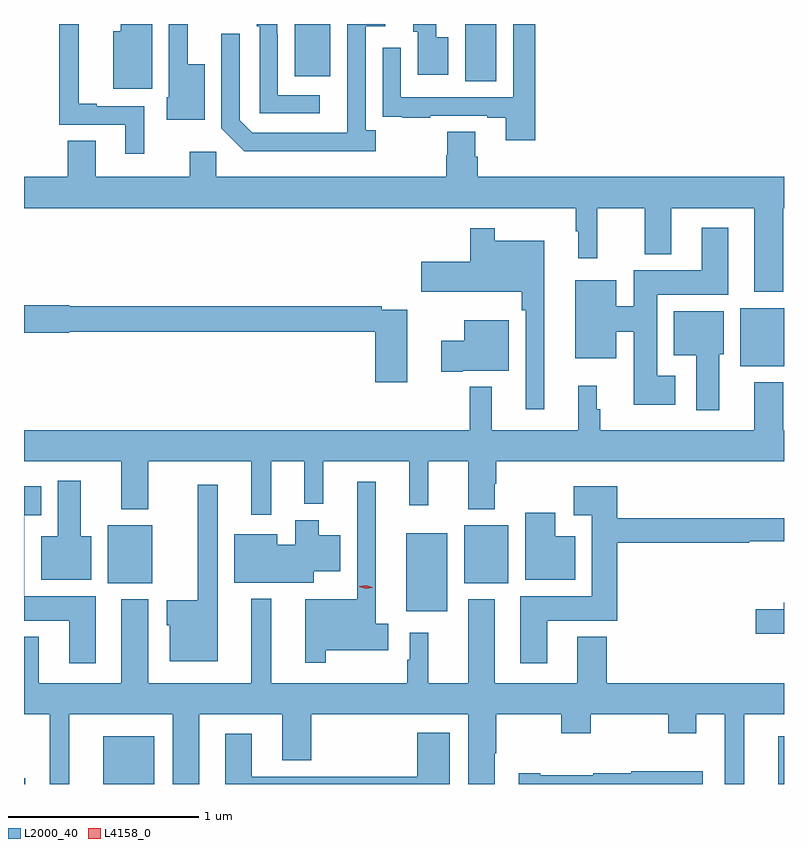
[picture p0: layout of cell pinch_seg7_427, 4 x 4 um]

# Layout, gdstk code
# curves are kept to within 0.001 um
import gdstk
lib = gdstk.Library(unit=1e-6, precision=1e-09)
def R(c, l, rs):  # rectangles x0, y0, x1, y1
    for r in rs: c.add(gdstk.rectangle(r[:2], r[2:], *l))
def P(c, l, *ps):  # polygons
    for p in ps: c.add(gdstk.Polygon(p, *l))
L2000_40 = (2000, 40)
L4158_0 = (4158, 0)

pinch_seg7_427 = lib.new_cell('pinch_seg7_427')
R(pinch_seg7_427, L2000_40, [(358.622,1046.869,358.629,1046.899), (359.039,1046.869,359.308,1047.121), (362.591,1046.869,362.622,1047.121), (360.635,1047.779,360.85,1048.189), (359.063,1047.926,359.296,1048.231), (360.938,1047.926,361.171,1048.231), (362.393,1049.069,362.622,1049.374), (360.944,1050.568,361.108,1050.869), (360.047,1050.593,360.235,1050.868)])
P(pinch_seg7_427, L2000_40, [(359.296,1050.869),(359.13,1050.869),(359.13,1050.832),(359.093,1050.832),(359.093,1050.527),(359.296,1050.527)],
  [(359.572,1050.658),(359.483,1050.658),(359.483,1050.869),(359.385,1050.869),(359.385,1050.483),(359.373,1050.483),(359.373,1050.365),(359.572,1050.365)],
  [(359.256,1050.435),(359.005,1050.435),(359.005,1050.448),(358.91,1050.448),(358.91,1050.869),(358.807,1050.869),(358.807,1050.339),(359.156,1050.339),(359.156,1050.186),(359.256,1050.186)],
  [(360.856,1050.799),(360.793,1050.799),(360.793,1050.869),(360.671,1050.869),(360.671,1050.828),(360.695,1050.828),(360.695,1050.603),(360.856,1050.603)],
  [(360.178,1050.495),(359.958,1050.495),(359.958,1050.815),(359.955,1050.815),(359.955,1050.869),(359.847,1050.869),(359.847,1050.857),(359.862,1050.857),(359.862,1050.399),(360.178,1050.399)],
  [(360.472,1050.31),(360.42,1050.31),(360.42,1050.858),(360.523,1050.858),(360.523,1050.869),(360.324,1050.869),(360.323,1050.297),(359.823,1050.297),(359.757,1050.363),(359.757,1050.817),(359.661,1050.817),(359.661,1050.321),(359.782,1050.2),(360.472,1050.2)],
  [(361.313,1050.869),(361.197,1050.869),(361.197,1050.483),(360.606,1050.483),(360.606,1050.745),(360.51,1050.745),(360.51,1050.49),(360.511,1050.49),(360.511,1050.381),(360.613,1050.381),(360.613,1050.375),(360.761,1050.375),(360.761,1050.387),(361.061,1050.387),(361.061,1050.375),(361.157,1050.375),(361.157,1050.258),(361.313,1050.258)],
  [(362.618,1049.9),(362.622,1049.9),(362.622,1050.064),(361.01,1050.064),(361.01,1050.17),(360.997,1050.17),(360.997,1050.302),(360.85,1050.302),(360.85,1050.177),(360.845,1050.177),(360.845,1050.064),(359.634,1050.064),(359.634,1050.196),(359.495,1050.196),(359.495,1050.064),(358.999,1050.064),(358.999,1050.254),(358.852,1050.254),(358.852,1050.064),(358.622,1050.064),(358.622,1049.9),(361.527,1049.9),(361.527,1049.777),(361.538,1049.777),(361.538,1049.637),(361.638,1049.637),(361.638,1049.9),(361.889,1049.9),(361.889,1049.657),(362.029,1049.657),(362.029,1049.9),(362.465,1049.9),(362.465,1049.459),(362.618,1049.459)],
  [(362.05,1049.017),(361.954,1049.017),(361.954,1049.444),(362.329,1049.444),(362.329,1049.797),(362.189,1049.797),(362.189,1049.572),(361.832,1049.572),(361.832,1049.384),(361.738,1049.384),(361.738,1049.521),(361.523,1049.521),(361.523,1049.111),(361.738,1049.111),(361.738,1049.248),(361.832,1049.248),(361.832,1048.865),(362.05,1048.865)],
  [(361.36,1049.728),(361.099,1049.728),(361.099,1049.794),(360.97,1049.794),(360.97,1049.617),(360.714,1049.617),(360.714,1049.459),(361.243,1049.459),(361.243,1049.363),(361.263,1049.363),(361.263,1048.842),(361.36,1048.842)],
  [(360.64,1049.364),(360.506,1049.364),(360.506,1049.384),(358.86,1049.384),(358.86,1049.39),(358.622,1049.39),(358.622,1049.243),(358.86,1049.243),(358.86,1049.248),(360.47,1049.248),(360.47,1048.983),(360.64,1048.983)],
  [(362.281,1049.13),(362.305,1049.13),(362.305,1049.356),(362.042,1049.356),(362.042,1049.126),(362.159,1049.126),(362.159,1048.836),(362.281,1048.836)],
  [(360.931,1049.045),(361.174,1049.045),(361.174,1049.311),(360.938,1049.311),(360.938,1049.203),(360.819,1049.203),(360.819,1049.038),(360.931,1049.038)],
  [(359.923,1048.568),(360.098,1048.568),(360.098,1048.343),(360.197,1048.343),(360.197,1048.568),(360.65,1048.568),(360.65,1048.335),(360.749,1048.335),(360.749,1048.568),(360.959,1048.568),(360.959,1048.316),(361.099,1048.316),(361.099,1048.448),(361.107,1048.448),(361.107,1048.568),(362.622,1048.568),(362.622,1048.732),(362.618,1048.732),(362.618,1048.984),(362.465,1048.984),(362.465,1048.732),(361.655,1048.732),(361.655,1048.841),(361.637,1048.841),(361.637,1048.966),(361.538,1048.966),(361.538,1048.732),(361.085,1048.732),(361.085,1048.96),(360.967,1048.96),(360.967,1048.732),(358.622,1048.732),(358.622,1048.568),(359.135,1048.568),(359.135,1048.316),(359.275,1048.316),(359.275,1048.568),(359.819,1048.568),(359.819,1048.287),(359.923,1048.287)],
  [(358.975,1048.174),(358.921,1048.174),(358.921,1048.465),(358.799,1048.465),(358.799,1048.174),(358.712,1048.174),(358.712,1047.944),(358.975,1047.944)],
  [(360.211,1047.572),(360.538,1047.572),(360.538,1047.713),(360.472,1047.713),(360.472,1048.459),(360.375,1048.459),(360.375,1047.841),(360.102,1047.841),(360.102,1047.507),(360.211,1047.507)],
  [(359.641,1048.444),(359.537,1048.444),(359.537,1047.836),(359.372,1047.836),(359.372,1047.705),(359.39,1047.705),(359.39,1047.515),(359.641,1047.515)],
  [(358.999,1047.856),(358.624,1047.856),(358.624,1048.283),(358.714,1048.283),(358.714,1048.435),(358.622,1048.435),(358.622,1047.728),(358.859,1047.728),(358.859,1047.504),(358.999,1047.504)],
  [(361.375,1047.728),(361.745,1047.728),(361.745,1048.138),(362.439,1048.138),(362.439,1048.146),(362.622,1048.146),(362.622,1048.267),(361.745,1048.267),(361.745,1048.435),(361.515,1048.435),(361.515,1048.283),(361.61,1048.283),(361.61,1047.856),(361.235,1047.856),(361.235,1047.504),(361.375,1047.504)],
  [(361.522,1048.174),(361.417,1048.174),(361.417,1048.297),(361.259,1048.297),(361.259,1047.944),(361.522,1047.944)],
  [(360.148,1047.989),(360.286,1047.989),(360.286,1048.177),(360.172,1048.177),(360.172,1048.258),(360.05,1048.258),(360.05,1048.129),(359.956,1048.129),(359.956,1048.183),(359.729,1048.183),(359.729,1047.929),(360.148,1047.929)],
  [(358.861,1047.236),(359.405,1047.236),(359.405,1046.869),(359.545,1046.869),(359.545,1047.236),(359.981,1047.236),(359.981,1046.993),(360.134,1046.993),(360.134,1047.236),(360.959,1047.236),(360.959,1046.869),(361.099,1046.869),(361.099,1047.032),(361.107,1047.032),(361.107,1047.236),(361.45,1047.236),(361.45,1047.137),(361.605,1047.137),(361.605,1047.236),(362.014,1047.236),(362.014,1047.137),(362.161,1047.137),(362.161,1047.236),(362.309,1047.236),(362.309,1046.869),(362.413,1046.869),(362.413,1047.236),(362.622,1047.236),(362.622,1047.4),(361.688,1047.4),(361.688,1047.643),(361.535,1047.643),(361.535,1047.4),(361.099,1047.4),(361.099,1047.841),(360.959,1047.841),(360.959,1047.4),(360.749,1047.4),(360.749,1047.664),(360.651,1047.664),(360.651,1047.524),(360.639,1047.524),(360.639,1047.4),(359.923,1047.4),(359.923,1047.844),(359.819,1047.844),(359.819,1047.4),(359.275,1047.4),(359.275,1047.841),(359.135,1047.841),(359.135,1047.4),(358.699,1047.4),(358.699,1047.643),(358.622,1047.643),(358.622,1047.236),(358.757,1047.236),(358.757,1046.869),(358.861,1046.869)],
  [(362.622,1047.823),(362.621,1047.823),(362.621,1047.789),(362.472,1047.789),(362.472,1047.659),(362.622,1047.659)],
  [(360.862,1047.139),(360.692,1047.139),(360.692,1046.908),(359.821,1046.908),(359.821,1047.133),(359.681,1047.133),(359.681,1046.869),(360.862,1046.869)],
  [(362.194,1046.935),(361.818,1046.935),(361.818,1046.926),(361.618,1046.926),(361.618,1046.916),(361.339,1046.916),(361.339,1046.926),(361.227,1046.926),(361.227,1046.869),(362.194,1046.869)])
P(pinch_seg7_427, L4158_0, [(360.42,1047.896),(360.386,1047.908),(360.386,1047.908),(360.386,1047.909),(360.422,1047.916),(360.456,1047.904),(360.456,1047.903),(360.456,1047.903)])

lib.write_gds('pinch_seg7_427.gds')
